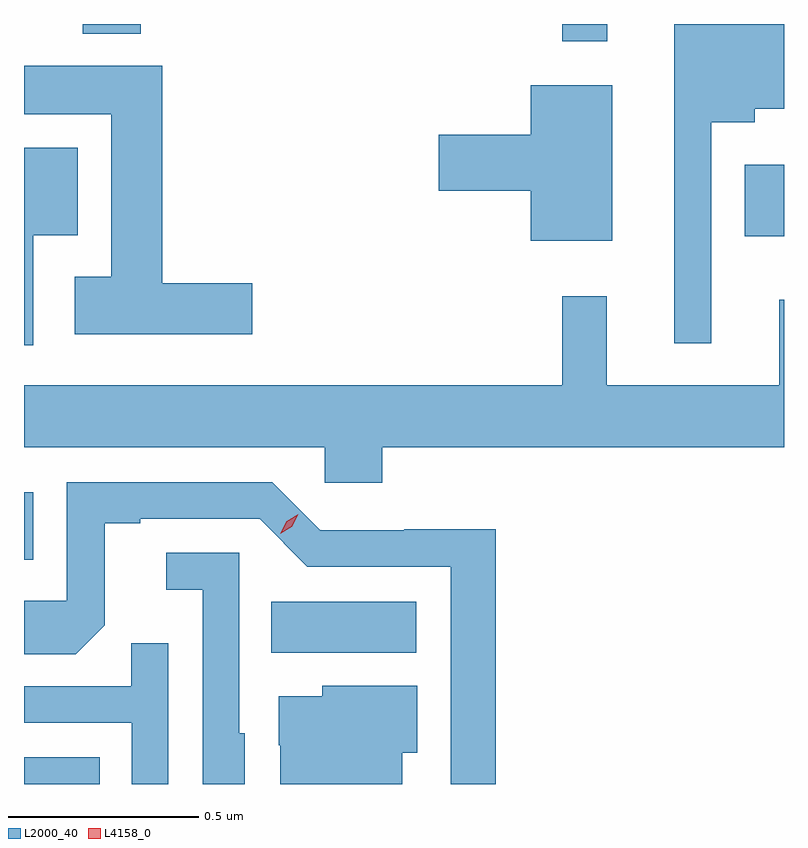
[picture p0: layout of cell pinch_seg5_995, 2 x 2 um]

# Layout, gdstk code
import gdstk
lib = gdstk.Library(unit=1e-6, precision=1e-09)
def R(c, l, rs):  # rectangles x0, y0, x1, y1
    for r in rs: c.add(gdstk.rectangle(r[:2], r[2:], *l))
def P(c, l, *ps):  # polygons
    for p in ps: c.add(gdstk.Polygon(p, *l))
L2000_40 = (2000, 40)
L4158_0 = (4158, 0)

pinch_seg5_995 = lib.new_cell('pinch_seg5_995')
R(pinch_seg5_995, L2000_40, [(746.773,879.85,746.972,879.921), (747.424,880.196,747.805,880.33), (746.773,880.44,746.797,880.618), (748.67,881.291,748.773,881.479), (748.189,881.805,748.308,881.85), (746.927,881.825,747.08,881.85)])
P(pinch_seg5_995, L2000_40, [(748.581,881.591),(748.696,881.591),(748.696,881.627),(748.773,881.627),(748.773,881.85),(748.484,881.85),(748.484,881.01),(748.581,881.01)],
  [(747.373,881.168),(747.137,881.168),(747.137,881.74),(746.773,881.74),(746.773,881.612),(747.002,881.612),(747.002,881.185),(746.907,881.185),(746.907,881.033),(747.373,881.033)],
  [(748.321,881.689),(748.106,881.689),(748.106,881.558),(747.864,881.558),(747.864,881.411),(748.106,881.411),(748.106,881.279),(748.321,881.279)],
  [(746.797,881.294),(746.914,881.294),(746.914,881.524),(746.773,881.524),(746.773,881.004),(746.797,881.004)],
  [(747.716,880.736),(748.773,880.736),(748.773,881.125),(748.76,881.125),(748.76,880.9),(748.307,880.9),(748.307,881.134),(748.189,881.134),(748.189,880.9),(746.773,880.9),(746.773,880.736),(747.564,880.736),(747.564,880.643),(747.716,880.643)],
  [(748.015,880.52),(747.774,880.52),(747.774,880.518),(747.552,880.518),(747.426,880.644),(746.886,880.644),(746.886,880.332),(746.773,880.332),(746.773,880.192),(746.909,880.192),(746.985,880.268),(746.985,880.536),(747.079,880.536),(747.079,880.548),(747.393,880.548),(747.519,880.422),(747.896,880.422),(747.896,879.85),(748.015,879.85)],
  [(747.354,879.984),(747.339,879.984),(747.339,880.458),(747.147,880.458),(747.147,880.361),(747.243,880.361),(747.243,879.85),(747.354,879.85)],
  [(747.153,880.22),(747.055,880.22),(747.055,880.107),(746.773,880.107),(746.773,880.011),(747.057,880.011),(747.057,879.85),(747.153,879.85)],
  [(747.769,879.932),(747.808,879.932),(747.808,880.108),(747.558,880.108),(747.558,880.081),(747.443,880.081),(747.443,879.952),(747.447,879.952),(747.447,879.85),(747.769,879.85)])
P(pinch_seg5_995, L4158_0, [(747.447,880.508),(747.447,880.508),(747.464,880.541),(747.495,880.56),(747.495,880.56),(747.495,880.56),(747.478,880.527),(747.447,880.508)])

lib.write_gds('pinch_seg5_995.gds')
